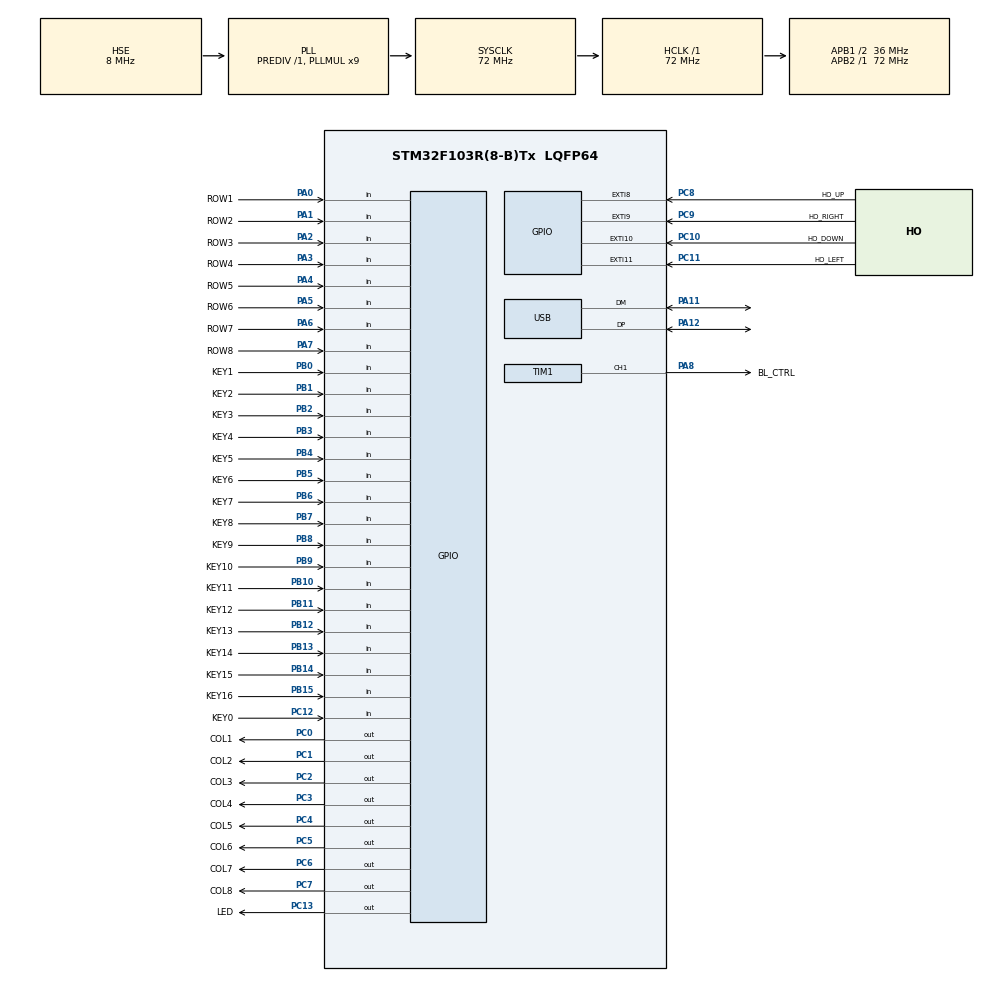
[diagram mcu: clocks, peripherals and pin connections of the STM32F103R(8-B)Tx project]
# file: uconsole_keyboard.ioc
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IWDG.Prescaler=IWDG_PRESCALER_128
Mcu.Family=STM32F1
Mcu.Name=STM32F103R(8-B)Tx
Mcu.Package=LQFP64
NVIC.EXTI15_10_IRQn=true\:0\:0\:false\:false\:true\:true\:true\:true
NVIC.EXTI9_5_IRQn=true\:0\:0\:false\:false\:true\:true\:true\:true
NVIC.PriorityGroup=NVIC_PRIORITYGROUP_4
NVIC.TIM2_IRQn=true\:0\:0\:false\:false\:true\:true\:true\:true
NVIC.USB_LP_CAN1_RX0_IRQn=true\:0\:0\:false\:false\:true\:false\:true\:true
PA0-WKUP.GPIO_Label=ROW1
PA0-WKUP.GPIO_Mode=GPIO_MODE_INPUT
PA0-WKUP.GPIO_PuPd=GPIO_PULLDOWN
PA0-WKUP.Signal=GPIO_Input
PA1.GPIO_Label=ROW2
PA1.GPIO_Mode=GPIO_MODE_INPUT
PA1.GPIO_PuPd=GPIO_PULLDOWN
PA1.Signal=GPIO_Input
PA11.Mode=Device
PA11.Signal=USB_DM
PA12.Mode=Device
PA12.Signal=USB_DP
PA2.GPIO_Label=ROW3
PA2.GPIO_Mode=GPIO_MODE_INPUT
PA2.GPIO_PuPd=GPIO_PULLDOWN
PA2.Signal=GPIO_Input
PA3.GPIO_Label=ROW4
PA3.GPIO_Mode=GPIO_MODE_INPUT
PA3.GPIO_PuPd=GPIO_PULLDOWN
PA3.Signal=GPIO_Input
PA4.GPIO_Label=ROW5
PA4.GPIO_Mode=GPIO_MODE_INPUT
PA4.GPIO_PuPd=GPIO_PULLDOWN
PA4.Signal=GPIO_Input
PA5.GPIO_Label=ROW6
PA5.GPIO_Mode=GPIO_MODE_INPUT
PA5.GPIO_PuPd=GPIO_PULLDOWN
PA5.Signal=GPIO_Input
PA6.GPIO_Label=ROW7
PA6.GPIO_Mode=GPIO_MODE_INPUT
PA6.GPIO_PuPd=GPIO_PULLDOWN
PA6.Signal=GPIO_Input
PA7.GPIO_Label=ROW8
PA7.GPIO_Mode=GPIO_MODE_INPUT
PA7.GPIO_PuPd=GPIO_PULLDOWN
PA7.Signal=GPIO_Input
PA8.GPIO_Label=BL_CTRL
PA8.Signal=S_TIM1_CH1
PB0.GPIO_Label=KEY1
PB0.GPIO_Mode=GPIO_MODE_INPUT
PB0.GPIO_PuPd=GPIO_PULLUP
PB0.Signal=GPIO_Input
PB1.GPIO_Label=KEY2
PB1.GPIO_Mode=GPIO_MODE_INPUT
PB1.GPIO_PuPd=GPIO_PULLUP
PB1.Signal=GPIO_Input
PB10.GPIO_Label=KEY11
PB10.GPIO_Mode=GPIO_MODE_INPUT
PB10.GPIO_PuPd=GPIO_PULLUP
PB10.Signal=GPIO_Input
PB11.GPIO_Label=KEY12
PB11.GPIO_Mode=GPIO_MODE_INPUT
PB11.GPIO_PuPd=GPIO_PULLUP
PB11.Signal=GPIO_Input
PB12.GPIO_Label=KEY13
PB12.GPIO_Mode=GPIO_MODE_INPUT
PB12.GPIO_PuPd=GPIO_PULLUP
PB12.Signal=GPIO_Input
PB13.GPIO_Label=KEY14
PB13.GPIO_Mode=GPIO_MODE_INPUT
PB13.GPIO_PuPd=GPIO_PULLUP
PB13.Signal=GPIO_Input
PB14.GPIO_Label=KEY15
PB14.GPIO_Mode=GPIO_MODE_INPUT
PB14.GPIO_PuPd=GPIO_PULLUP
PB14.Signal=GPIO_Input
PB15.GPIO_Label=KEY16
PB15.GPIO_Mode=GPIO_MODE_INPUT
PB15.GPIO_PuPd=GPIO_PULLUP
PB15.Signal=GPIO_Input
PB2.GPIO_Label=KEY3
PB2.GPIO_Mode=GPIO_MODE_INPUT
PB2.GPIO_PuPd=GPIO_PULLUP
PB2.Signal=GPIO_Input
PB3.GPIO_Label=KEY4
PB3.GPIO_Mode=GPIO_MODE_INPUT
PB3.GPIO_PuPd=GPIO_PULLUP
PB3.Signal=GPIO_Input
PB4.GPIO_Label=KEY5
PB4.GPIO_Mode=GPIO_MODE_INPUT
PB4.GPIO_PuPd=GPIO_PULLUP
PB4.Signal=GPIO_Input
PB5.GPIO_Label=KEY6
PB5.GPIO_Mode=GPIO_MODE_INPUT
PB5.GPIO_PuPd=GPIO_PULLUP
PB5.Signal=GPIO_Input
PB6.GPIO_Label=KEY7
PB6.GPIO_Mode=GPIO_MODE_INPUT
PB6.GPIO_PuPd=GPIO_PULLUP
PB6.Signal=GPIO_Input
PB7.GPIO_Label=KEY8
PB7.GPIO_Mode=GPIO_MODE_INPUT
PB7.GPIO_PuPd=GPIO_PULLUP
PB7.Signal=GPIO_Input
PB8.GPIO_Label=KEY9
PB8.GPIO_Mode=GPIO_MODE_INPUT
PB8.GPIO_PuPd=GPIO_PULLUP
PB8.Signal=GPIO_Input
PB9.GPIO_Label=KEY10
PB9.GPIO_Mode=GPIO_MODE_INPUT
PB9.GPIO_PuPd=GPIO_PULLUP
PB9.Signal=GPIO_Input
PC0.GPIO_Label=COL1
PC0.GPIO_Speed=GPIO_SPEED_FREQ_HIGH
PC0.Signal=GPIO_Output
PC1.GPIO_Label=COL2
PC1.GPIO_Speed=GPIO_SPEED_FREQ_HIGH
PC1.Signal=GPIO_Output
PC10.GPIO_Label=HO_DOWN
PC10.GPIO_ModeDefaultEXTI=GPIO_MODE_IT_RISING_FALLING
PC10.Signal=GPXTI10
PC11.GPIO_Label=HO_LEFT
PC11.GPIO_ModeDefaultEXTI=GPIO_MODE_IT_RISING_FALLING
PC11.Signal=GPXTI11
PC12.GPIO_Label=KEY0
PC12.GPIO_PuPd=GPIO_PULLUP
PC12.Signal=GPIO_Input
PC13-TAMPER-RTC.GPIO_Label=LED
PC13-TAMPER-RTC.GPIO_Speed=GPIO_SPEED_FREQ_LOW
PC13-TAMPER-RTC.PinState=GPIO_PIN_SET
PC13-TAMPER-RTC.Signal=GPIO_Output
PC14-OSC32_IN.Mode=LSE-External-Oscillator
PC14-OSC32_IN.Signal=RCC_OSC32_IN
PC15-OSC32_OUT.Mode=LSE-External-Oscillator
PC15-OSC32_OUT.Signal=RCC_OSC32_OUT
PC2.GPIO_Label=COL3
PC2.GPIO_Speed=GPIO_SPEED_FREQ_HIGH
PC2.Signal=GPIO_Output
PC3.GPIO_Label=COL4
PC3.GPIO_Speed=GPIO_SPEED_FREQ_HIGH
PC3.Signal=GPIO_Output
PC4.GPIO_Label=COL5
PC4.GPIO_Speed=GPIO_SPEED_FREQ_HIGH
PC4.Signal=GPIO_Output
PC5.GPIO_Label=COL6
PC5.GPIO_Speed=GPIO_SPEED_FREQ_HIGH
PC5.Signal=GPIO_Output
PC6.GPIO_Label=COL7
PC6.GPIO_Speed=GPIO_SPEED_FREQ_HIGH
PC6.Signal=GPIO_Output
PC7.GPIO_Label=COL8
PC7.GPIO_Speed=GPIO_SPEED_FREQ_HIGH
PC7.Signal=GPIO_Output
PC8.GPIO_Label=HO_UP
PC8.GPIO_ModeDefaultEXTI=GPIO_MODE_IT_RISING_FALLING
PC8.Signal=GPXTI8
PC9.GPIO_Label=HO_RIGHT
PC9.GPIO_ModeDefaultEXTI=GPIO_MODE_IT_RISING_FALLING
PC9.Signal=GPXTI9
PD0-OSC_IN.Mode=HSE-External-Oscillator
PD0-OSC_IN.Signal=RCC_OSC_IN
PD1-OSC_OUT.Mode=HSE-External-Oscillator
PD1-OSC_OUT.Signal=RCC_OSC_OUT
ProjectManager.HeapSize=0x200
ProjectManager.StackSize=0x400
ProjectManager.TargetToolchain=Makefile
RCC.AHBFreq_Value=72000000
RCC.APB1CLKDivider=RCC_HCLK_DIV2
RCC.APB1Freq_Value=36000000
RCC.APB1TimFreq_Value=72000000
RCC.APB2Freq_Value=72000000
RCC.APB2TimFreq_Value=72000000
RCC.HCLKFreq_Value=72000000
RCC.PLLMUL=RCC_PLL_MUL9
RCC.PLLSourceVirtual=RCC_PLLSOURCE_HSE
RCC.SYSCLKFreq_VALUE=72000000
RCC.SYSCLKSource=RCC_SYSCLKSOURCE_PLLCLK
RCC.USBFreq_Value=48000000
RCC.USBPrescaler=RCC_USBCLKSOURCE_PLL_DIV1_5
SH.S_TIM1_CH1.0=TIM1_CH1,PWM Generation1 CH1
TIM1.Channel-PWM\ Generation1\ CH1=TIM_CHANNEL_1
TIM1.OCIdleState_1=TIM_OCIDLESTATE_RESET
TIM1.Period=2000
TIM2.Period=999
TIM2.Prescaler=71
USB_DEVICE.CLASS_NAME_FS=CUSTOM_HID
USB_DEVICE.CUSTOM_HID_FS_BINTERVAL=5
USB_DEVICE.MANUFACTURER_STRING=ClockworkPI
USB_DEVICE.PID_CUSTOMHID_FS=0x0024
USB_DEVICE.PRODUCT_STRING_CUSTOMHID_FS=uConsole
USB_DEVICE.USBD_CUSTOMHID_OUTREPORT_BUF_SIZE=4
USB_DEVICE.USBD_CUSTOM_HID_REPORT_DESC_SIZE=256
USB_DEVICE.VID=0x1eaf
USB_DEVICE.VirtualMode=CustomHid
USB_DEVICE.VirtualModeFS=Custom_Hid_FS
VP_IWDG_VS_IWDG.Mode=IWDG_Activate
VP_SYS_VS_ND.Mode=No_Debug
VP_TIM1_VS_ClockSourceINT.Mode=Internal
VP_TIM2_VS_ClockSourceINT.Mode=Internal
VP_USB_DEVICE_VS_USB_DEVICE_CUSTOM_HID_FS.Mode=CUSTOM_HID_FS
board=custom

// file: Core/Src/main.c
/* USER CODE BEGIN Header */
/**
  ******************************************************************************
  * @file           : main.c
  * @brief          : Main program body
  ******************************************************************************
  * @attention
  *
  * Copyright (c) 2025 STMicroelectronics.
  * All rights reserved.
  *
  * This software is licensed under terms that can be found in the LICENSE file
  * in the root directory of this software component.
  * If no LICENSE file comes with this software, it is provided AS-IS.
  *
  ******************************************************************************
  */
/* USER CODE END Header */
#include "main.h"
#include "usb_device.h"

/* USER CODE BEGIN Includes */
#include "keyboard_non_matrix.h"
#include "trackball.h"
#include "keymaps.h"
#include "keyboard_state.h"
#include "hid_keyboard.h"
#include "hid_mouse.h"
#include "hid_consumer.h"
#include "hid_gamepad.h"
#include "hid_vendor.h"
#include "prec_time.h"
/* USER CODE END Includes */

IWDG_HandleTypeDef hiwdg;

TIM_HandleTypeDef htim1;
TIM_HandleTypeDef htim2;

void SystemClock_Config(void);
static void MX_GPIO_Init(void);
static void MX_TIM1_Init(void);
static void MX_TIM2_Init(void);
static void MX_IWDG_Init(void);

/* USER CODE BEGIN 0 */
/**
* @brief  Reset USB peripheral completely after bootloader
* @retval None
*/
static void USB_Reset_After_Bootloader(void)
{
  // Step 1: Disable USB interrupts
  HAL_NVIC_DisableIRQ(USB_HP_CAN1_TX_IRQn);
  HAL_NVIC_DisableIRQ(USB_LP_CAN1_RX0_IRQn);

  // Step 2: Clear any pending USB interrupts
  NVIC_ClearPendingIRQ(USB_HP_CAN1_TX_IRQn);
  NVIC_ClearPendingIRQ(USB_LP_CAN1_RX0_IRQn);

  // Step 3: Enable USB clock to access registers
  __HAL_RCC_USB_CLK_ENABLE();

  // Step 4: Force USB reset and clear all registers
  USB->CNTR = (uint16_t)USB_CNTR_FRES;
  HAL_Delay(1);
  USB->CNTR = 0U;
  USB->ISTR = 0U;
  USB->DADDR = 0U;
  USB->BTABLE = 0U;

  // Step 5: Disable USB clock
  __HAL_RCC_USB_CLK_DISABLE();

  // Step 6: Reset USB peripheral through RCC (hardware reset)
  __HAL_RCC_USB_FORCE_RESET();
  HAL_Delay(10);
  __HAL_RCC_USB_RELEASE_RESET();
  HAL_Delay(10);

  // Step 7: Force USB disconnect by pulling DP (PA12) low
  // This simulates physical disconnection
  GPIO_InitTypeDef GPIO_InitStruct = {0};

  // Configure PA12 (USB_DP) as output
  GPIO_InitStruct.Pin = GPIO_PIN_12;
  GPIO_InitStruct.Mode = GPIO_MODE_OUTPUT_PP;
  GPIO_InitStruct.Pull = GPIO_NOPULL;
  GPIO_InitStruct.Speed = GPIO_SPEED_FREQ_LOW;
  HAL_GPIO_Init(GPIOA, &GPIO_InitStruct);

  // Pull DP low to force disconnect
  HAL_GPIO_WritePin(GPIOA, GPIO_PIN_12, GPIO_PIN_RESET);

  // Wait longer for host to detect disconnect (USB spec requires at least 2.5us, we use 200ms)
  // This gives Windows enough time to fully release the device and clear its cache
  HAL_Delay(200);

  // Step 8: Release GPIO and restore to default state
  HAL_GPIO_DeInit(GPIOA, GPIO_PIN_12);

  // Step 9: Additional delay before reinitialization to ensure host has fully processed disconnect
  HAL_Delay(100);

  // Step 10: Ensure USB pins are in correct state for reinitialization
  // PA11 (USB_DM) and PA12 (USB_DP) should be in analog mode for USB
  // On STM32F1, USB pins don't need explicit configuration, but we ensure clean state
  // The pins will be configured by USB peripheral when it's enabled
}

/**
 * @brief Blink the keyboard LEDs a specified number of times with a defined interval.
 *
 * This function initiates a visual blinking effect for the keyboard LEDs. The "interval" parameter
 * specifies the total duration of one blink cycle (LED ON time plus LED OFF time), measured in milliseconds.
 * The LEDs will blink "count" times, with each blink consisting of the LED being on and off for the duration
 * specified by "interval".
 *
 * @param count    Number of blink cycles (on + off) to perform.
 * @param interval Total duration of each blink cycle in milliseconds (LED on time + pause time).
 */
void leds_blink(uint8_t count, uint16_t interval)
{
  keyboard_state.leds_timer = HAL_GetTick() + count * interval;
  keyboard_state.leds_interfal = interval;
}

/**
* @brief  Reset to bootloader via watchdog
* @retval None (never returns)
*/
void jump_to_bootloader(void)
{
  hiwdg.Init.Prescaler = IWDG_PRESCALER_4;
  hiwdg.Init.Reload = 1;
  if (HAL_IWDG_Init(&hiwdg) != HAL_OK)
  {
    Error_Handler();
  }
  while (1);
}

void load_config(void)
{
  uint8_t current_layer = 0;

  #define LAYER(l, name) { current_layer = l - 1; }
  #define BIND(button, key) bind_button(current_layer, 0, button, key)
  #define BIND_FN(button, key) bind_button(current_layer, 1, button, key)
  #define TRACKBALL_SPEED(value) trackball_set_speed(current_layer, value)
  #define TRACKBALL_ACCELERATION(value) trackball_set_acceleration(current_layer, value)
  #define TRACKBALL_SCROLL_VERTICAL_SPEED(value) trackball_set_scroll_vertical_speed(current_layer, value)
  #define TRACKBALL_SCROLL_VERTICAL_ACCELERATION(value) trackball_set_scroll_vertical_acceleration(current_layer, value)
  #define TRACKBALL_SCROLL_HORIZONTAL_SPEED(value) trackball_set_scroll_horizontal_speed(current_layer, value)
  #define TRACKBALL_SCROLL_HORIZONTAL_ACCELERATION(value) trackball_set_scroll_horizontal_acceleration(current_layer, value)

  #include "layers.h"

  #undef LAYER
  #undef BIND
  #undef BIND_FN
  #undef TRACKBALL_SPEED
  #undef TRACKBALL_ACCELERATION
  #undef TRACKBALL_SCROLL_VERTICAL_SPEED
  #undef TRACKBALL_SCROLL_VERTICAL_ACCELERATION
  #undef TRACKBALL_SCROLL_HORIZONTAL_SPEED
  #undef TRACKBALL_SCROLL_HORIZONTAL_ACCELERATION
}

/* USER CODE END 0 */

int main(void)
{

  /* MCU Configuration--------------------------------------------------------*/

  /* Reset of all peripherals, Initializes the Flash interface and the Systick. */
  HAL_Init();

  /* Configure the system clock */
  SystemClock_Config();

  /* USER CODE BEGIN SysInit */
  USB_Reset_After_Bootloader();
  /* USER CODE END SysInit */

  /* Initialize all configured peripherals */
  MX_GPIO_Init();
  MX_TIM1_Init();
  MX_USB_DEVICE_Init();
  MX_TIM2_Init();
  MX_IWDG_Init();
  /* USER CODE BEGIN 2 */

  // Initialize keyboard state
  memset(&keyboard_state, 0, sizeof(keyboard_state));
  keyboard_state.backlight = KEYBOARD_INITIAL_BACKLIGHT_VALUE_ID;
  if (keyboard_state.backlight >= (sizeof(backlight_vals) / sizeof(backlight_vals[0]))) {
    keyboard_state.backlight = 0;
  }
  load_config();

  // Initialize modules
  matrix_init();
  non_matrix_init();
  trackball_init();

  // Start PWM for backlight
  HAL_TIM_PWM_Start(&htim1, TIM_CHANNEL_1);
  __HAL_TIM_SET_COMPARE(&htim1, TIM_CHANNEL_1, 0);

  // Start TIM2 for precision time
  HAL_TIM_Base_Start_IT(&htim2);

  // Blink on startup
  if (backlight_vals[KEYBOARD_INITIAL_BACKLIGHT_VALUE_ID] == 0) {
    for (int i = 0; i < 2000; i += 100) {
      __HAL_TIM_SET_COMPARE(&htim1, TIM_CHANNEL_1, i);
      HAL_Delay(25);
    }
    for (int i = 2000; i >= 0; i -= 100) {
      __HAL_TIM_SET_COMPARE(&htim1, TIM_CHANNEL_1, i);
      HAL_Delay(50);
    }
  } else {
    for (int i = 0; i < backlight_vals[KEYBOARD_INITIAL_BACKLIGHT_VALUE_ID]; i += 100) {
      __HAL_TIM_SET_COMPARE(&htim1, TIM_CHANNEL_1, i);
      HAL_Delay(50);
    }
  }

  hid_wait_configured();

  /* USER CODE END 2 */

  /* Infinite loop */
  /* USER CODE BEGIN WHILE */
  while (1)
  {
    HAL_IWDG_Refresh(&hiwdg);

    // Get the current time
    uint64_t time_us = prec_time_get_us();
    uint64_t time_ms = HAL_GetTick();

    // Update backlight PWM
    if (keyboard_state.leds_timer > time_ms && keyboard_state.leds_interfal > 0) {
      // Blink the LEDs (keyboard backlight)
      uint8_t v = ((keyboard_state.leds_timer - time_ms) / (keyboard_state.leds_interfal / 2)) & 1;
      __HAL_TIM_SET_COMPARE(&htim1, TIM_CHANNEL_1, !v * 0xFFFF);
      HAL_GPIO_WritePin(LED_GPIO_Port, LED_Pin, v ? GPIO_PIN_SET : GPIO_PIN_RESET);
    }
    else if (time_ms - keyboard_state.last_activity_time < KEYBOARD_BACKLIGHT_OFF_TIME * 1000) {
      // Normal backlight
      __HAL_TIM_SET_COMPARE(&htim1, TIM_CHANNEL_1, backlight_vals[keyboard_state.backlight]);
    } else if (time_ms - keyboard_state.last_activity_time >= KEYBOARD_BACKLIGHT_OFF_TIME * 1000 + KEYBOARD_BACKLIGHT_DIM_OUT_DURATION) {
      // Turn off the backlight
      __HAL_TIM_SET_COMPARE(&htim1, TIM_CHANNEL_1, KEYBOARD_BACKLIGHT_DIMMED_OUT_VALUE);
    } else {
      // Dim out the backlight
      uint32_t full_off_remaining_time = keyboard_state.last_activity_time + KEYBOARD_BACKLIGHT_OFF_TIME * 1000 + KEYBOARD_BACKLIGHT_DIM_OUT_DURATION - time_ms;
      uint32_t dim_out_value = ((uint32_t)backlight_vals[keyboard_state.backlight] - KEYBOARD_BACKLIGHT_DIMMED_OUT_VALUE)
        * full_off_remaining_time
        / KEYBOARD_BACKLIGHT_DIM_OUT_DURATION
        + KEYBOARD_BACKLIGHT_DIMMED_OUT_VALUE;
      __HAL_TIM_SET_COMPARE(&htim1, TIM_CHANNEL_1, dim_out_value);
    }

    // Main tasks
    matrix_task();
    non_matrix_task();
    trackball_task();
    hid_gamepad_task();
    hid_vendor_task();

    // Repeat the loop every 500 microseconds
    while (prec_time_get_us() - time_us < 500) {
      // Wait
    }

    /* USER CODE END WHILE */

  }
}

void SystemClock_Config(void)
{
  RCC_OscInitTypeDef RCC_OscInitStruct = {0};
  RCC_ClkInitTypeDef RCC_ClkInitStruct = {0};
  RCC_PeriphCLKInitTypeDef PeriphClkInit = {0};

  /** Initializes the RCC Oscillators according to the specified parameters
  * in the RCC_OscInitTypeDef structure.
  */
  RCC_OscInitStruct.OscillatorType = RCC_OSCILLATORTYPE_LSI|RCC_OSCILLATORTYPE_HSE;
  RCC_OscInitStruct.HSEState = RCC_HSE_ON;
  RCC_OscInitStruct.HSEPredivValue = RCC_HSE_PREDIV_DIV1;
  RCC_OscInitStruct.HSIState = RCC_HSI_ON;
  RCC_OscInitStruct.LSIState = RCC_LSI_ON;
  RCC_OscInitStruct.PLL.PLLState = RCC_PLL_ON;
  RCC_OscInitStruct.PLL.PLLSource = RCC_PLLSOURCE_HSE;
  RCC_OscInitStruct.PLL.PLLMUL = RCC_PLL_MUL9;
  if (HAL_RCC_OscConfig(&RCC_OscInitStruct) != HAL_OK)
  {
    Error_Handler();
  }

  /** Initializes the CPU, AHB and APB buses clocks
  */
  RCC_ClkInitStruct.ClockType = RCC_CLOCKTYPE_HCLK|RCC_CLOCKTYPE_SYSCLK
                              |RCC_CLOCKTYPE_PCLK1|RCC_CLOCKTYPE_PCLK2;
  RCC_ClkInitStruct.SYSCLKSource = RCC_SYSCLKSOURCE_PLLCLK;
  RCC_ClkInitStruct.AHBCLKDivider = RCC_SYSCLK_DIV1;
  RCC_ClkInitStruct.APB1CLKDivider = RCC_HCLK_DIV2;
  RCC_ClkInitStruct.APB2CLKDivider = RCC_HCLK_DIV1;

  if (HAL_RCC_ClockConfig(&RCC_ClkInitStruct, FLASH_LATENCY_2) != HAL_OK)
  {
    Error_Handler();
  }
  PeriphClkInit.PeriphClockSelection = RCC_PERIPHCLK_USB;
  PeriphClkInit.UsbClockSelection = RCC_USBCLKSOURCE_PLL_DIV1_5;
  if (HAL_RCCEx_PeriphCLKConfig(&PeriphClkInit) != HAL_OK)
  {
    Error_Handler();
  }
}

static void MX_IWDG_Init(void)
{

  hiwdg.Instance = IWDG;
  hiwdg.Init.Prescaler = IWDG_PRESCALER_128;
  hiwdg.Init.Reload = 4095;
  if (HAL_IWDG_Init(&hiwdg) != HAL_OK)
  {
    Error_Handler();
  }

}

static void MX_TIM1_Init(void)
{

  TIM_ClockConfigTypeDef sClockSourceConfig = {0};
  TIM_MasterConfigTypeDef sMasterConfig = {0};
  TIM_OC_InitTypeDef sConfigOC = {0};
  TIM_BreakDeadTimeConfigTypeDef sBreakDeadTimeConfig = {0};

  htim1.Instance = TIM1;
  htim1.Init.Prescaler = 0;
  htim1.Init.CounterMode = TIM_COUNTERMODE_UP;
  htim1.Init.Period = 2000;
  htim1.Init.ClockDivision = TIM_CLOCKDIVISION_DIV1;
  htim1.Init.RepetitionCounter = 0;
  htim1.Init.AutoReloadPreload = TIM_AUTORELOAD_PRELOAD_DISABLE;
  if (HAL_TIM_Base_Init(&htim1) != HAL_OK)
  {
    Error_Handler();
  }
  sClockSourceConfig.ClockSource = TIM_CLOCKSOURCE_INTERNAL;
  if (HAL_TIM_ConfigClockSource(&htim1, &sClockSourceConfig) != HAL_OK)
  {
    Error_Handler();
  }
  if (HAL_TIM_PWM_Init(&htim1) != HAL_OK)
  {
    Error_Handler();
  }
  sMasterConfig.MasterOutputTrigger = TIM_TRGO_RESET;
  sMasterConfig.MasterSlaveMode = TIM_MASTERSLAVEMODE_DISABLE;
  if (HAL_TIMEx_MasterConfigSynchronization(&htim1, &sMasterConfig) != HAL_OK)
  {
    Error_Handler();
  }
  sConfigOC.OCMode = TIM_OCMODE_PWM1;
  sConfigOC.Pulse = 0;
  sConfigOC.OCPolarity = TIM_OCPOLARITY_HIGH;
  sConfigOC.OCNPolarity = TIM_OCNPOLARITY_HIGH;
  sConfigOC.OCFastMode = TIM_OCFAST_DISABLE;
  sConfigOC.OCIdleState = TIM_OCIDLESTATE_RESET;
  sConfigOC.OCNIdleState = TIM_OCNIDLESTATE_RESET;
  if (HAL_TIM_PWM_ConfigChannel(&htim1, &sConfigOC, TIM_CHANNEL_1) != HAL_OK)
  {
    Error_Handler();
  }
  sBreakDeadTimeConfig.OffStateRunMode = TIM_OSSR_DISABLE;
  sBreakDeadTimeConfig.OffStateIDLEMode = TIM_OSSI_DISABLE;
  sBreakDeadTimeConfig.LockLevel = TIM_LOCKLEVEL_OFF;
  sBreakDeadTimeConfig.DeadTime = 0;
  sBreakDeadTimeConfig.BreakState = TIM_BREAK_DISABLE;
  sBreakDeadTimeConfig.BreakPolarity = TIM_BREAKPOLARITY_HIGH;
  sBreakDeadTimeConfig.AutomaticOutput = TIM_AUTOMATICOUTPUT_DISABLE;
  if (HAL_TIMEx_ConfigBreakDeadTime(&htim1, &sBreakDeadTimeConfig) != HAL_OK)
  {
    Error_Handler();
  }
  HAL_TIM_MspPostInit(&htim1);

}

static void MX_TIM2_Init(void)
{

  TIM_ClockConfigTypeDef sClockSourceConfig = {0};
  TIM_MasterConfigTypeDef sMasterConfig = {0};

  htim2.Instance = TIM2;
  htim2.Init.Prescaler = 71;
  htim2.Init.CounterMode = TIM_COUNTERMODE_UP;
  htim2.Init.Period = 999;
  htim2.Init.ClockDivision = TIM_CLOCKDIVISION_DIV1;
  htim2.Init.AutoReloadPreload = TIM_AUTORELOAD_PRELOAD_DISABLE;
  if (HAL_TIM_Base_Init(&htim2) != HAL_OK)
  {
    Error_Handler();
  }
  sClockSourceConfig.ClockSource = TIM_CLOCKSOURCE_INTERNAL;
  if (HAL_TIM_ConfigClockSource(&htim2, &sClockSourceConfig) != HAL_OK)
  {
    Error_Handler();
  }
  sMasterConfig.MasterOutputTrigger = TIM_TRGO_RESET;
  sMasterConfig.MasterSlaveMode = TIM_MASTERSLAVEMODE_DISABLE;
  if (HAL_TIMEx_MasterConfigSynchronization(&htim2, &sMasterConfig) != HAL_OK)
  {
    Error_Handler();
  }

}

static void MX_GPIO_Init(void)
{
  GPIO_InitTypeDef GPIO_InitStruct = {0};

  /* GPIO Ports Clock Enable */
  __HAL_RCC_GPIOC_CLK_ENABLE();
  __HAL_RCC_GPIOD_CLK_ENABLE();
  __HAL_RCC_GPIOA_CLK_ENABLE();
  __HAL_RCC_GPIOB_CLK_ENABLE();

  /*Configure GPIO pin Output Level */
  HAL_GPIO_WritePin(LED_GPIO_Port, LED_Pin, GPIO_PIN_SET);

  /*Configure GPIO pin Output Level */
  HAL_GPIO_WritePin(GPIOC, COL1_Pin|COL2_Pin|COL3_Pin|COL4_Pin
                          |COL5_Pin|COL6_Pin|COL7_Pin|COL8_Pin, GPIO_PIN_RESET);

  /*Configure GPIO pin : LED_Pin */
  GPIO_InitStruct.Pin = LED_Pin;
  GPIO_InitStruct.Mode = GPIO_MODE_OUTPUT_PP;
  GPIO_InitStruct.Pull = GPIO_NOPULL;
  GPIO_InitStruct.Speed = GPIO_SPEED_FREQ_LOW;
  HAL_GPIO_Init(LED_GPIO_Port, &GPIO_InitStruct);

  /*Configure GPIO pins : COL1_Pin COL2_Pin COL3_Pin COL4_Pin
                           COL5_Pin COL6_Pin COL7_Pin COL8_Pin */
  GPIO_InitStruct.Pin = COL1_Pin|COL2_Pin|COL3_Pin|COL4_Pin
                          |COL5_Pin|COL6_Pin|COL7_Pin|COL8_Pin;
  GPIO_InitStruct.Mode = GPIO_MODE_OUTPUT_PP;
  GPIO_InitStruct.Pull = GPIO_NOPULL;
  GPIO_InitStruct.Speed = GPIO_SPEED_FREQ_HIGH;
  HAL_GPIO_Init(GPIOC, &GPIO_InitStruct);

  /*Configure GPIO pins : ROW1_Pin ROW2_Pin ROW3_Pin ROW4_Pin
                           ROW5_Pin ROW6_Pin ROW7_Pin ROW8_Pin */
  GPIO_InitStruct.Pin = ROW1_Pin|ROW2_Pin|ROW3_Pin|ROW4_Pin
                          |ROW5_Pin|ROW6_Pin|ROW7_Pin|ROW8_Pin;
  GPIO_InitStruct.Mode = GPIO_MODE_INPUT;
  GPIO_InitStruct.Pull = GPIO_PULLDOWN;
  HAL_GPIO_Init(GPIOA, &GPIO_InitStruct);

  /*Configure GPIO pins : KEY1_Pin KEY2_Pin KEY3_Pin KEY11_Pin
                           KEY12_Pin KEY13_Pin KEY14_Pin KEY15_Pin
                           KEY16_Pin KEY4_Pin KEY5_Pin KEY6_Pin
                           KEY7_Pin KEY8_Pin KEY9_Pin KEY10_Pin */
  GPIO_InitStruct.Pin = KEY1_Pin|KEY2_Pin|KEY3_Pin|KEY11_Pin
                          |KEY12_Pin|KEY13_Pin|KEY14_Pin|KEY15_Pin
                          |KEY16_Pin|KEY4_Pin|KEY5_Pin|KEY6_Pin
                          |KEY7_Pin|KEY8_Pin|KEY9_Pin|KEY10_Pin;
  GPIO_InitStruct.Mode = GPIO_MODE_INPUT;
  GPIO_InitStruct.Pull = GPIO_PULLUP;
  HAL_GPIO_Init(GPIOB, &GPIO_InitStruct);

  /*Configure GPIO pins : HO_UP_Pin HO_RIGHT_Pin HO_DOWN_Pin HO_LEFT_Pin */
  GPIO_InitStruct.Pin = HO_UP_Pin|HO_RIGHT_Pin|HO_DOWN_Pin|HO_LEFT_Pin;
  GPIO_InitStruct.Mode = GPIO_MODE_IT_RISING_FALLING;
  GPIO_InitStruct.Pull = GPIO_NOPULL;
  HAL_GPIO_Init(GPIOC, &GPIO_InitStruct);

  /*Configure GPIO pin : KEY0_Pin */
  GPIO_InitStruct.Pin = KEY0_Pin;
  GPIO_InitStruct.Mode = GPIO_MODE_INPUT;
  GPIO_InitStruct.Pull = GPIO_PULLUP;
  HAL_GPIO_Init(KEY0_GPIO_Port, &GPIO_InitStruct);

  /* EXTI interrupt init*/
  HAL_NVIC_SetPriority(EXTI9_5_IRQn, 0, 0);
  HAL_NVIC_EnableIRQ(EXTI9_5_IRQn);

  HAL_NVIC_SetPriority(EXTI15_10_IRQn, 0, 0);
  HAL_NVIC_EnableIRQ(EXTI15_10_IRQn);

}

void Error_Handler(void)
{
  __disable_irq();
  while (1)
  {
  }
}
